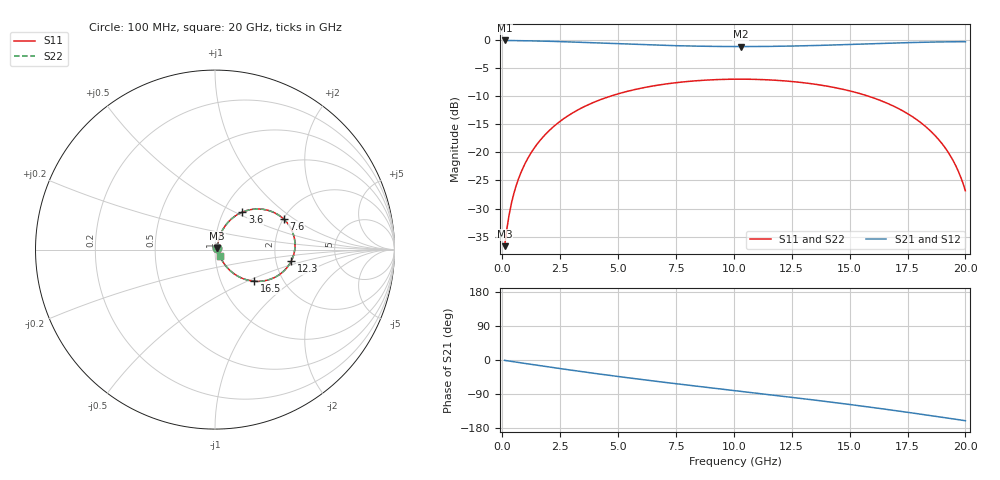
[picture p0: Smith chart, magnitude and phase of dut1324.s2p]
! Touchstone file exported from HFSS 2026.1.0
!  File:  C:/ffzhzh/LocalFiles/Ansys_Project_Files/temp_train_TSV_RDL_1324_1783337199_30076.aedt
!  Generated:  07:35:06 PM Jul  6, 2026
!  Design:  TSV_RDL
!  Project:  temp_train_TSV_RDL_1324_1783337199_30076
! Variables:
!  h_bsmrdl = 4.5um
!  h_ox = 20um
!  h_rdl = 5um
!  h_sub = 61.23um
!  h_tmrdl = 3.74um
!  h_tsv = 61.23um
!  h_via = 3um
!  l_bsmrdl = 402.27um
!  l_sub = 2640.2um
!  l_tmrdl = 228.4um
!  m_sub = 200um
!  pitch = 50.14um
!  r_tsv = 14.61um
!  s_tmrdl = 10um
!  w_bsmrdl = 28.05um
!  w_sub = 500um
!  w_tmrdl = 11.88um
!  x_tsv_center1 = 234.34um
!  x_tsv_center2 = 664.66um
!  x_tsv_center3 = 904.94um
!  x_tsv_center4 = 1335.26um
!  x_tsv_center5 = 1575.54um
!  x_tsv_center6 = 2005.86um
# GHz S MA R 50.000000
! Terminal data exported
! Port[1] = TM_RDL1_1_T1
! Port[2] = TM_RDL5_1_T1
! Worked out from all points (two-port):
!   200 points, 100 MHz to 20 GHz, reference 50 ohm
!   highest |S21| = -0.10 dB at 100 MHz (marker M1); lowest = -1.2 dB at 10.3 GHz (marker M2)
!   |S21| within 3 dB of the highest: start of sweep to end of sweep
!   lowest |S11| = -36.7 dB at 100 MHz (marker M3), VSWR 1.03, Z = 51.2 + j0.866 ohm
!   |S11| at or under -10 dB: start of sweep to 4.683 GHz; 15.8 GHz to end of sweep
!   |S22| runs from -36.7 to -7.0 dB; largest |S21 - S12| = 1.8e-13
!   S11 on the Smith chart (normalised r, x): 100 MHz: 1.02, +0.02; 3.6 GHz: 1.22, +0.55; 7.6 GHz: 2.01, +0.83; 12.3 GHz: 2.44, -0.37; 16.5 GHz: 1.43, -0.55; 20 GHz: 1.05, -0.08
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0.1  0.01462 35.3  0.9882 -1.0  0.9882 -1.0  0.01462 35.3
! Gamma 0 0 0 0
! Port Impedance 50 0 50 0
0.3  0.02822 60.3  0.987 -2.9  0.987 -2.9  0.02822 60.3
0.5  0.04307 67.0  0.9855 -4.7  0.9855 -4.7  0.04307 67.0
0.8  0.06558 70.0  0.9835 -7.4  0.9835 -7.4  0.06558 70.0
1.1  0.08816 70.3  0.9812 -10.2  0.9812 -10.2  0.08816 70.2
2.1  0.1613 65.2  0.9707 -19.1  0.9707 -19.1  0.1613 65.2
3.5  0.2525 54.7  0.9495 -31.2  0.9495 -31.2  0.2525 54.7
3.6  0.2583 53.9  0.9478 -32.1  0.9478 -32.1  0.2584 53.9
5  0.3311 43.1  0.9237 -43.5  0.9237 -43.5  0.3311 43.1
6.8  0.398 29.8  0.8962 -57.4  0.8962 -57.4  0.398 29.8
7.6  0.4183 24.1  0.8868 -63.3  0.8868 -63.3  0.4183 24.1
10.1  0.4471 6.8  0.8722 -81.2  0.8722 -81.2  0.4471 6.8
10.3  0.4472 5.4  0.8721 -82.7  0.8721 -82.7  0.4472 5.4
12.3  0.4299 -8.4  0.8796 -97.0  0.8796 -97.0  0.4299 -8.4
13.4  0.406 -16.1  0.8897 -105.1  0.8897 -105.1  0.406 -16.1
15  0.352 -27.8  0.91 -117.4  0.91 -117.4  0.352 -27.8
16.5  0.28 -39.0  0.9316 -129.5  0.9316 -129.5  0.28 -39.0
16.7  0.2689 -40.5  0.9344 -131.2  0.9344 -131.2  0.2688 -40.5
17.9  0.1951 -49.3  0.9497 -141.5  0.9497 -141.5  0.1951 -49.4
18.8  0.1331 -55.0  0.9582 -149.4  0.9582 -149.4  0.1331 -55.1
19.5  0.08218 -57.2  0.9623 -155.7  0.9623 -155.7  0.08216 -57.2
20  0.04547 -52.9  0.9637 -160.2  0.9637 -160.2  0.04544 -53.0
